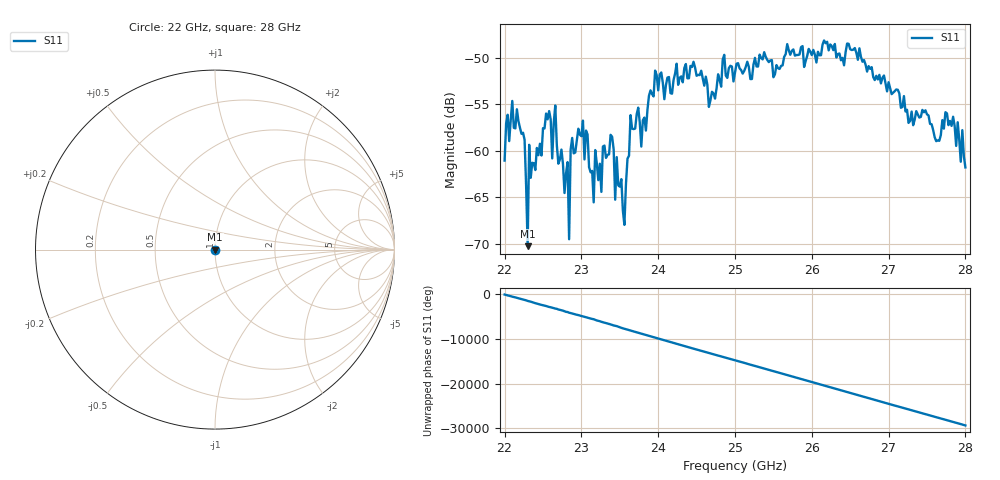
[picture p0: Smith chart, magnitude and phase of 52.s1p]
#  HZ  S  RI  R  50.00
! Rohde & Schwarz ZVA40 4Ports - Version 3.90 - 1145.1110k42 SN: 100403
! Date: 2023-10-04 07:39:00
! Measurement: S12
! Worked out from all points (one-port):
!   301 points, 22 GHz to 28 GHz, reference 50 ohm
!   lowest |S11| = -70.3 dB at 22.3 GHz (marker M1), VSWR 1.00, Z = 50 - j0.0195 ohm
!   |S11| at or under -10 dB: start of sweep to end of sweep
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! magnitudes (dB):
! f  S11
! 22 GHz  -61.1
! 22.16 GHz  -55.5
! 22.26 GHz  -58.8
! 22.3 GHz  -70.3
! 22.32 GHz  -59.4
! 22.58 GHz  -55.7
! 22.62 GHz  -60.8
! 22.66 GHz  -55.1
! 22.76 GHz  -61.4
! 22.82 GHz  -61.2
! 22.84 GHz  -69.5
! 22.86 GHz  -59.9
! 23.02 GHz  -56.8
! 23.16 GHz  -65.6
! 23.18 GHz  -59.9
! 23.26 GHz  -64.4
! 23.38 GHz  -58.3
! 23.5 GHz  -63.9
! 23.56 GHz  -68.0
! 23.64 GHz  -56.2
! 23.78 GHz  -59.6
! 23.96 GHz  -51.4
! 24.26 GHz  -52.9
! 25 GHz  -51.6
! 25.76 GHz  -49.1
! 26.5 GHz  -49.1
! 27.26 GHz  -57.0
! 28 GHz  -61.8
